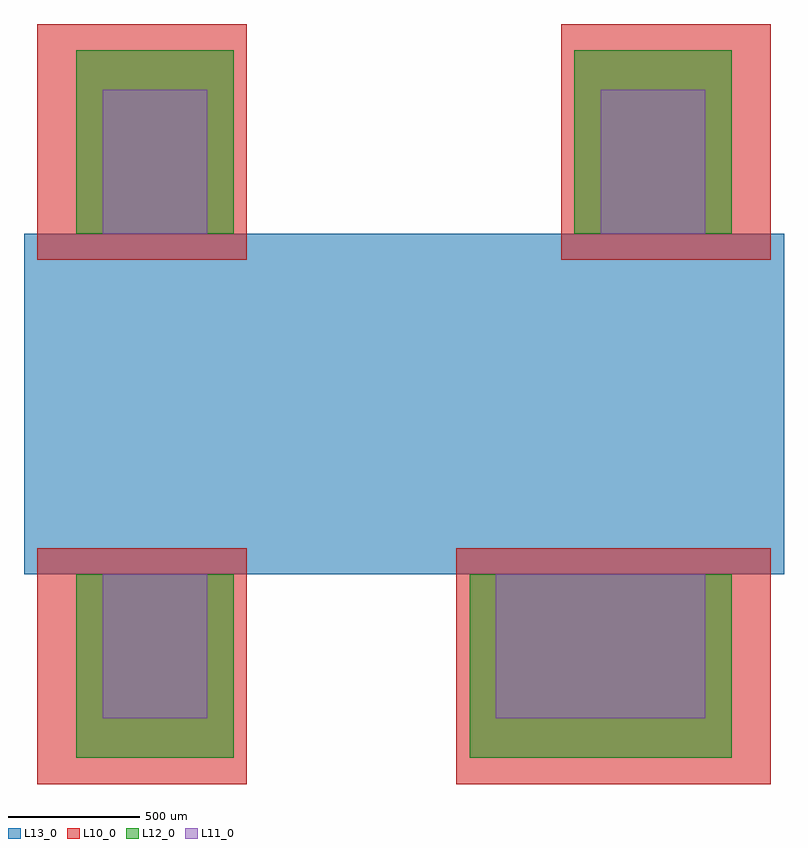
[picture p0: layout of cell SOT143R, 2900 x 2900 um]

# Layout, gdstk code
import gdstk
lib = gdstk.Library(unit=1e-6, precision=1e-09)
def R(c, l, rs):  # rectangles x0, y0, x1, y1
    for r in rs: c.add(gdstk.rectangle(r[:2], r[2:], *l))
L10_0 = (10, 0)
L11_0 = (11, 0)
L12_0 = (12, 0)
L13_0 = (13, 0)

sot143r = lib.new_cell('SOT143R')
R(sot143r, L10_0, [(-1400,-1450,-600,-550), (200,-1450,1400,-550), (-1400,550,-600,1450), (600,550,1400,1450)])
R(sot143r, L11_0, [(-1150,-1200,-750,-650), (350,-1200,1150,-650), (-1150,650,-750,1200), (750,650,1150,1200)])
R(sot143r, L12_0, [(-1250,-1350,-650,-650), (250,-1350,1250,-650), (-1250,650,-650,1350), (650,650,1250,1350)])
R(sot143r, L13_0, [(-1450,-650,1450,650)])

lib.write_gds('SOT143R.gds')
